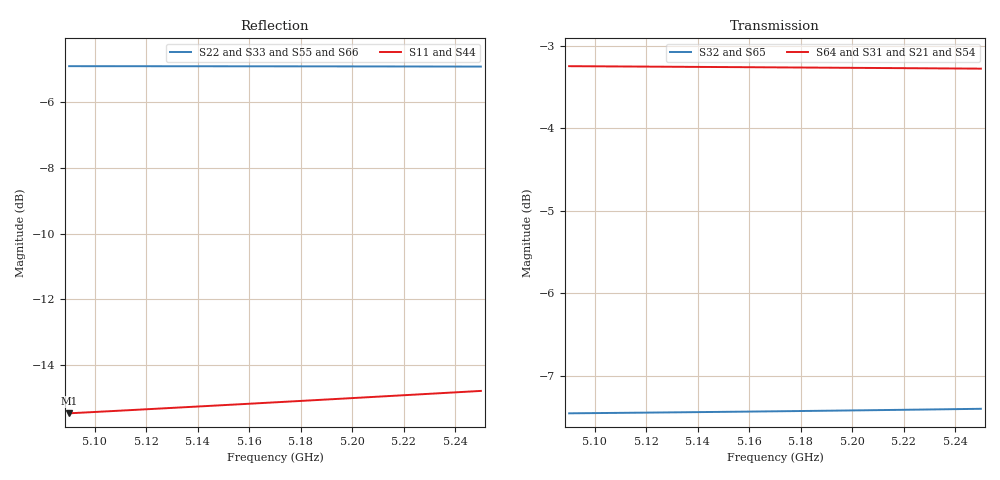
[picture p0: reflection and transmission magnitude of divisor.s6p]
! Touchstone file exported from HFSS 2024.2.0
!  File:  D:/dev/EMBRAER/P1H/R03_Estudo/ZYF300CA-P/compacta/1x2/Compacta_ZYF300CA_P_1x2.aedt
!  Generated:  11:53:20 PM Nov  6, 2026
!  Design:  Duplo_radial
!  Project:  Compacta_ZYF300CA_P_1x2
!  Setup:  Divisor
!  Solution:  Banda
# GHz S RI R 50.000000
! Terminal data exported
! Port[1] = A_IN
! Port[2] = A1
! Port[3] = A2
! Port[4] = B_IN
! Port[5] = B1
! Port[6] = B2
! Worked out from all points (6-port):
!   17 points, 5.09 GHz to 5.25 GHz, reference 50 ohm
!   strongest paths, dB at 5.09 GHz, 5.13 GHz, 5.17 GHz, 5.21 GHz, 5.25 GHz:
!     S64: -3.2, -3.3, -3.3, -3.3, -3.3
!     S31: -3.3, -3.3, -3.3, -3.3, -3.3
!     S21: -3.3, -3.3, -3.3, -3.3, -3.3
!     S54: -3.3, -3.3, -3.3, -3.3, -3.3
!     S32: -7.5, -7.4, -7.4, -7.4, -7.4
!     S65: -7.5, -7.4, -7.4, -7.4, -7.4
!   lowest |S11| = -15.5 dB at 5.09 GHz (marker M1), VSWR 1.41, Z = 49.5 - j17 ohm
!   |S11| at or under -10 dB: start of sweep to end of sweep
